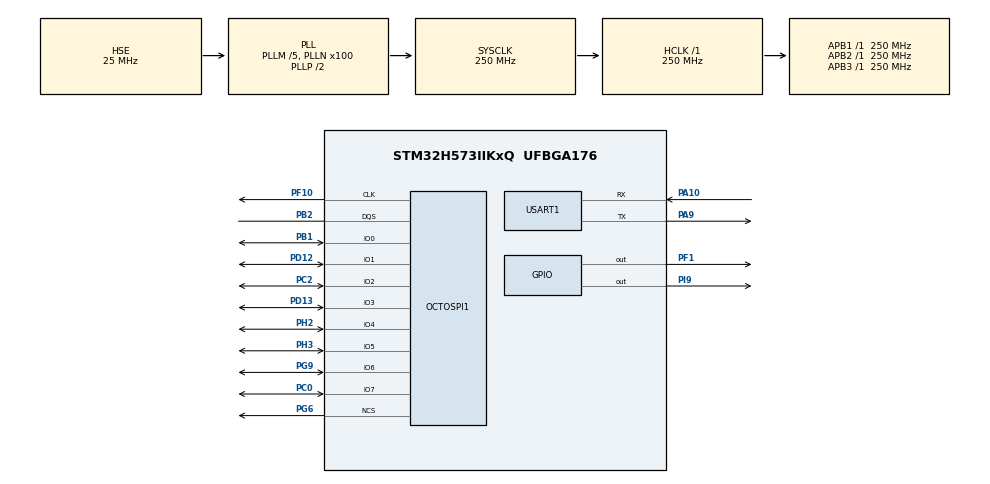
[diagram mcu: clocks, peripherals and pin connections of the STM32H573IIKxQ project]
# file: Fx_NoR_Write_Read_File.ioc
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CORTEX_M33_NS.userName=CORTEX_M33
FILEX.FILEX_APPLICATION_THREAD_STACK_SIZE=2 * 1024
FILEX.FX_APP_MEM_POOL_SIZE=1024*4
FILEX.FX_LX_NOR_INTERFACE=1
FILEX.useRTOS=1
GPDMA1.DESTINC_GPDMACH1=DMA_DINC_INCREMENTED
GPDMA1.DIRECTION_GPDMACH0=DMA_MEMORY_TO_PERIPH
GPDMA1.DMAHANDLE_GPDMACH0=hdmatx
GPDMA1.IPHANDLE_GPDMACH0-SIMPLEREQUEST_GPDMACH0=__NULL
GPDMA1.IPHANDLE_GPDMACH1-SIMPLEREQUEST_GPDMACH1=__NULL
GPDMA1.REQUEST_GPDMACH0=GPDMA1_REQUEST_OCTOSPI1
GPDMA1.REQUEST_GPDMACH1=GPDMA1_REQUEST_OCTOSPI1
GPDMA1.SRCINC_GPDMACH0=DMA_SINC_INCREMENTED
LEVELX.GLUE_FUNCTIONS=DMA_API
LEVELX.LX_DRIVER_CALLS_OSPI_INIT=0
LEVELX.LX_NOR_ENABLE_MAPPING_BITMAP=1
LEVELX.LX_NOR_Flash_Support=1
LEVELX.LX_OctoSPI_Memory_Interface=1
LEVELX.TRANSFER_NOTIFICATION=ThreadX_Semaphore
LevelX.BSP.number=1
LevelX0.BSP.STBoard=false
LevelX0.BSP.api=BSP_COMPONENT_DRIVER
LevelX0.BSP.component=MX25LM51245G
LevelX0.BSP.instance=MX25LM51245G
LevelX0.BSP.name=OSPI Component
LevelX0.BSP.semaphore=SEMA_MX25LM51245G
LevelX0.BSP.solution=MX25LM51245G
Mcu.Family=STM32H5
Mcu.Name=STM32H573IIKxQ
Mcu.Package=UFBGA176
NVIC.GPDMA1_Channel0_IRQn=true\:0\:0\:false\:false\:true\:true\:false\:true\:true
NVIC.GPDMA1_Channel1_IRQn=true\:0\:0\:false\:false\:true\:true\:false\:true\:true
NVIC.OCTOSPI1_IRQn=true\:0\:0\:false\:false\:true\:false\:true\:true\:true
NVIC.PriorityGroup=NVIC_PRIORITYGROUP_4
NVIC.TIM6_IRQn=true\:15\:0\:false\:false\:true\:false\:false\:true\:true
NVIC.TimeBase=TIM6_IRQn
NVIC.TimeBaseIP=TIM6
OCTOSPI1.ChipSelectHighTimeCycle=2
OCTOSPI1.ClockPrescaler=3
OCTOSPI1.DelayBlockBypass=HAL_XSPI_DELAY_BLOCK_ON
OCTOSPI1.DelayHoldQuarterCycle=HAL_XSPI_DHQC_ENABLE
OCTOSPI1.MemorySize=HAL_XSPI_SIZE_512MB
OCTOSPI1.MemoryType=HAL_XSPI_MEMTYPE_MACRONIX
OCTOSPI1.PhaseSel=2
OCTOSPI1.Units=56
PA10.Mode=Asynchronous
PA10.Signal=USART1_RX
PA9.Mode=Asynchronous
PA9.Signal=USART1_TX
PB1.Mode=OCTOSPI1_IO_Octo
PB1.Signal=OCTOSPI1_IO0
PB2.Mode=octods_mode
PB2.Signal=OCTOSPI1_DQS
PC0.Mode=OCTOSPI1_IO_Octo
PC0.Signal=OCTOSPI1_IO7
PC2.Mode=OCTOSPI1_IO_Octo
PC2.Signal=OCTOSPI1_IO2
PD12.Mode=OCTOSPI1_IO_Octo
PD12.Signal=OCTOSPI1_IO1
PD13.Mode=OCTOSPI1_IO_Octo
PD13.Signal=OCTOSPI1_IO3
PF1.GPIO_Speed=GPIO_SPEED_FREQ_HIGH
PF1.PinState=GPIO_PIN_SET
PF1.Signal=GPIO_Output
PF10.Mode=octods_mode
PF10.Signal=OCTOSPI1_CLK
PG6.GPIO_PuPd=GPIO_PULLUP
PG6.Mode=octods_mode
PG6.Signal=OCTOSPI1_NCS
PG9.Mode=OCTOSPI1_IO_Octo
PG9.Signal=OCTOSPI1_IO6
PH0-OSC_IN(PH0).Mode=HSE-DIG-External-Clock-Source
PH0-OSC_IN(PH0).Signal=RCC_OSC_IN
PH2.Mode=OCTOSPI1_IO_Octo
PH2.Signal=OCTOSPI1_IO4
PH3.Mode=OCTOSPI1_IO_Octo
PH3.Signal=OCTOSPI1_IO5
PI9.GPIO_Speed=GPIO_SPEED_FREQ_HIGH
PI9.PinState=GPIO_PIN_SET
PI9.Signal=GPIO_Output
ProjectManager.HeapSize=0x200
ProjectManager.StackSize=0x400
ProjectManager.TargetToolchain=EWARM V9.20
RCC.ADCFreq_Value=250000000
RCC.AHBFreq_Value=250000000
RCC.APB1Freq_Value=250000000
RCC.APB1TimFreq_Value=250000000
RCC.APB2Freq_Value=250000000
RCC.APB2TimFreq_Value=250000000
RCC.APB3Freq_Value=250000000
RCC.CSI_VALUE=4000000
RCC.CortexFreq_Value=250000000
RCC.EPOD_VALUE=25000000
RCC.HCLKFreq_Value=250000000
RCC.HSE_VALUE=25000000
RCC.HSI48_VALUE=48000000
RCC.HSIDiv=RCC_HSI_DIV1
RCC.HSI_VALUE=64000000
RCC.LSE_VALUE=32768
RCC.LSIRC_VALUE=32000
RCC.PLLFRACN=0
RCC.PLLM=5
RCC.PLLN=100
RCC.PLLSourceVirtual=RCC_PLL1_SOURCE_HSE
RCC.SYSCLKFreq_VALUE=250000000
RCC.SYSCLKSource=RCC_SYSCLKSOURCE_PLLCLK
RCC.USBFreq_Value=48000000
RCC.VCOOutputFreq_Value=500000000
USART1.VirtualMode=VM_ASYNC
USART1.VirtualMode-Asynchronous=VM_ASYNC
VP_DCACHE1_VS_DCACHE.Mode=DCACHE_Activate
VP_FILEX_VS_FileOoSystemJjFileXJjCore.Mode=FileX_Core
VP_FILEX_VS_LevelXOoNOROointerface.Mode=LevelX_NOR_interface
VP_GPDMA1_VS_GPDMACH0.Mode=SIMPLEREQUEST_GPDMACH0
VP_GPDMA1_VS_GPDMACH1.Mode=SIMPLEREQUEST_GPDMACH1
VP_ICACHE_VS_ICACHE.Mode=DefaultMode
VP_LEVELX_VS_FileOoSystemJjLevelXJjNOR.Mode=LevelX_NOR_Flash_Support
VP_LEVELX_VS_OctoSPIOomemoryOointerface.Mode=OctoSPI_memory_interface
VP_PWR_VS_DBSignals.Mode=DisableDeadBatterySignals
VP_PWR_VS_LPOM.Mode=PowerOptimisation
VP_PWR_VS_SECSignals.Mode=Security/Privilege
VP_SYS_VS_tim6.Mode=TIM6
VP_THREADX_VS_RTOSJjThreadXJjCoreJjDefault.Mode=Core_Default
board=custom

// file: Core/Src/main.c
/* USER CODE BEGIN Header */
/**
  ******************************************************************************
  * @file           : main.c
  * @brief          : Main program body
  ******************************************************************************
  * @attention
  *
  * Copyright (c) 2023 STMicroelectronics.
  * All rights reserved.
  *
  * This software is licensed under terms that can be found in the LICENSE file
  * in the root directory of this software component.
  * If no LICENSE file comes with this software, it is provided AS-IS.
  *
  ******************************************************************************
  */
/* USER CODE END Header */
#include "app_threadx.h"
#include "main.h"

/* USER CODE BEGIN Includes */
#include "lx_stm32_ospi_driver.h"
#if defined(__ICCARM__)
#include <LowLevelIOInterface.h>
#endif /* __ICCARM__ */
/* USER CODE END Includes */

DCACHE_HandleTypeDef hdcache1;

XSPI_HandleTypeDef hxspi1;
DMA_HandleTypeDef handle_GPDMA1_Channel1;
DMA_HandleTypeDef handle_GPDMA1_Channel0;

UART_HandleTypeDef huart1;

void SystemClock_Config(void);
static void MX_GPIO_Init(void);
static void MX_GPDMA1_Init(void);
static void MX_ICACHE_Init(void);
static void MX_OCTOSPI1_Init(void);
static void MX_USART1_UART_Init(void);
static void MX_DCACHE1_Init(void);
/* USER CODE BEGIN PFP */

#if defined(__ICCARM__)
/* New definition from EWARM V9, compatible with EWARM8 */
int iar_fputc(int ch);
#define PUTCHAR_PROTOTYPE int iar_fputc(int ch)
#elif defined ( __CC_ARM ) || defined(__ARMCC_VERSION)
/* ARM Compiler 5/6*/
#define PUTCHAR_PROTOTYPE int fputc(int ch, FILE *f)
#elif defined(__GNUC__)
#define PUTCHAR_PROTOTYPE int __io_putchar(int ch)
#endif /* __ICCARM__ */
/* USER CODE END PFP */

int main(void)
{

  /* MCU Configuration--------------------------------------------------------*/

  /* Reset of all peripherals, Initializes the Flash interface and the Systick. */
  HAL_Init();

  /* Configure the system clock */
  SystemClock_Config();

  /* Initialize all configured peripherals */
  MX_GPIO_Init();
  MX_GPDMA1_Init();
  MX_ICACHE_Init();
  MX_OCTOSPI1_Init();
  MX_USART1_UART_Init();
  MX_DCACHE1_Init();

  MX_ThreadX_Init();

  /* We should never get here as control is now taken by the scheduler */

  /* Infinite loop */
  while (1)
  {

  }
}

void SystemClock_Config(void)
{
  RCC_OscInitTypeDef RCC_OscInitStruct = {0};
  RCC_ClkInitTypeDef RCC_ClkInitStruct = {0};

  /** Configure the main internal regulator output voltage
  */
  __HAL_PWR_VOLTAGESCALING_CONFIG(PWR_REGULATOR_VOLTAGE_SCALE0);

  while(!__HAL_PWR_GET_FLAG(PWR_FLAG_VOSRDY)) {}

  /** Initializes the RCC Oscillators according to the specified parameters
  * in the RCC_OscInitTypeDef structure.
  */
  RCC_OscInitStruct.OscillatorType = RCC_OSCILLATORTYPE_HSE;
  RCC_OscInitStruct.HSEState = RCC_HSE_BYPASS_DIGITAL;
  RCC_OscInitStruct.PLL.PLLState = RCC_PLL_ON;
  RCC_OscInitStruct.PLL.PLLSource = RCC_PLL1_SOURCE_HSE;
  RCC_OscInitStruct.PLL.PLLM = 5;
  RCC_OscInitStruct.PLL.PLLN = 100;
  RCC_OscInitStruct.PLL.PLLP = 2;
  RCC_OscInitStruct.PLL.PLLQ = 2;
  RCC_OscInitStruct.PLL.PLLR = 2;
  RCC_OscInitStruct.PLL.PLLRGE = RCC_PLL1_VCIRANGE_2;
  RCC_OscInitStruct.PLL.PLLVCOSEL = RCC_PLL1_VCORANGE_WIDE;
  RCC_OscInitStruct.PLL.PLLFRACN = 0;
  if (HAL_RCC_OscConfig(&RCC_OscInitStruct) != HAL_OK)
  {
    Error_Handler();
  }

  /** Initializes the CPU, AHB and APB buses clocks
  */
  RCC_ClkInitStruct.ClockType = RCC_CLOCKTYPE_HCLK|RCC_CLOCKTYPE_SYSCLK
                              |RCC_CLOCKTYPE_PCLK1|RCC_CLOCKTYPE_PCLK2
                              |RCC_CLOCKTYPE_PCLK3;
  RCC_ClkInitStruct.SYSCLKSource = RCC_SYSCLKSOURCE_PLLCLK;
  RCC_ClkInitStruct.AHBCLKDivider = RCC_SYSCLK_DIV1;
  RCC_ClkInitStruct.APB1CLKDivider = RCC_HCLK_DIV1;
  RCC_ClkInitStruct.APB2CLKDivider = RCC_HCLK_DIV1;
  RCC_ClkInitStruct.APB3CLKDivider = RCC_HCLK_DIV1;

  if (HAL_RCC_ClockConfig(&RCC_ClkInitStruct, FLASH_LATENCY_5) != HAL_OK)
  {
    Error_Handler();
  }

  /** Configure the programming delay
  */
  __HAL_FLASH_SET_PROGRAM_DELAY(FLASH_PROGRAMMING_DELAY_2);
}

static void MX_DCACHE1_Init(void)
{

  hdcache1.Instance = DCACHE1;
  hdcache1.Init.ReadBurstType = DCACHE_READ_BURST_WRAP;
  if (HAL_DCACHE_Init(&hdcache1) != HAL_OK)
  {
    Error_Handler();
  }

}

static void MX_GPDMA1_Init(void)
{

  /* Peripheral clock enable */
  __HAL_RCC_GPDMA1_CLK_ENABLE();

  /* GPDMA1 interrupt Init */
    HAL_NVIC_SetPriority(GPDMA1_Channel0_IRQn, 0, 0);
    HAL_NVIC_EnableIRQ(GPDMA1_Channel0_IRQn);
    HAL_NVIC_SetPriority(GPDMA1_Channel1_IRQn, 0, 0);
    HAL_NVIC_EnableIRQ(GPDMA1_Channel1_IRQn);

}

static void MX_ICACHE_Init(void)
{

  /** Enable instruction cache (default 2-ways set associative cache)
  */
  if (HAL_ICACHE_Enable() != HAL_OK)
  {
    Error_Handler();
  }

}

static void MX_OCTOSPI1_Init(void)
{

  HAL_XSPI_DLYB_CfgTypeDef HAL_XSPI_DLYB_Cfg_Struct = {0};

  /* OCTOSPI1 parameter configuration*/
  hxspi1.Instance = OCTOSPI1;
  hxspi1.Init.FifoThresholdByte = 1;
  hxspi1.Init.MemoryMode = HAL_XSPI_SINGLE_MEM;
  hxspi1.Init.MemoryType = HAL_XSPI_MEMTYPE_MACRONIX;
  hxspi1.Init.MemorySize = HAL_XSPI_SIZE_512MB;
  hxspi1.Init.ChipSelectHighTimeCycle = 2;
  hxspi1.Init.FreeRunningClock = HAL_XSPI_FREERUNCLK_DISABLE;
  hxspi1.Init.ClockMode = HAL_XSPI_CLOCK_MODE_0;
  hxspi1.Init.WrapSize = HAL_XSPI_WRAP_NOT_SUPPORTED;
  hxspi1.Init.ClockPrescaler = 3;
  hxspi1.Init.SampleShifting = HAL_XSPI_SAMPLE_SHIFT_NONE;
  hxspi1.Init.DelayHoldQuarterCycle = HAL_XSPI_DHQC_ENABLE;
  hxspi1.Init.ChipSelectBoundary = HAL_XSPI_BONDARYOF_NONE;
  hxspi1.Init.DelayBlockBypass = HAL_XSPI_DELAY_BLOCK_ON;
  hxspi1.Init.Refresh = 0;
  if (HAL_XSPI_Init(&hxspi1) != HAL_OK)
  {
    Error_Handler();
  }
  HAL_XSPI_DLYB_Cfg_Struct.Units = 56;
  HAL_XSPI_DLYB_Cfg_Struct.PhaseSel = 2;
  if (HAL_XSPI_DLYB_SetConfig(&hxspi1, &HAL_XSPI_DLYB_Cfg_Struct) != HAL_OK)
  {
    Error_Handler();
  }

}

static void MX_USART1_UART_Init(void)
{

  huart1.Instance = USART1;
  huart1.Init.BaudRate = 115200;
  huart1.Init.WordLength = UART_WORDLENGTH_8B;
  huart1.Init.StopBits = UART_STOPBITS_1;
  huart1.Init.Parity = UART_PARITY_NONE;
  huart1.Init.Mode = UART_MODE_TX_RX;
  huart1.Init.HwFlowCtl = UART_HWCONTROL_NONE;
  huart1.Init.OverSampling = UART_OVERSAMPLING_16;
  huart1.Init.OneBitSampling = UART_ONE_BIT_SAMPLE_DISABLE;
  huart1.Init.ClockPrescaler = UART_PRESCALER_DIV1;
  huart1.AdvancedInit.AdvFeatureInit = UART_ADVFEATURE_NO_INIT;
  if (HAL_UART_Init(&huart1) != HAL_OK)
  {
    Error_Handler();
  }
  if (HAL_UARTEx_SetTxFifoThreshold(&huart1, UART_TXFIFO_THRESHOLD_1_8) != HAL_OK)
  {
    Error_Handler();
  }
  if (HAL_UARTEx_SetRxFifoThreshold(&huart1, UART_RXFIFO_THRESHOLD_1_8) != HAL_OK)
  {
    Error_Handler();
  }
  if (HAL_UARTEx_DisableFifoMode(&huart1) != HAL_OK)
  {
    Error_Handler();
  }

}

static void MX_GPIO_Init(void)
{
  GPIO_InitTypeDef GPIO_InitStruct = {0};

  /* GPIO Ports Clock Enable */
  __HAL_RCC_GPIOG_CLK_ENABLE();
  __HAL_RCC_GPIOI_CLK_ENABLE();
  __HAL_RCC_GPIOA_CLK_ENABLE();
  __HAL_RCC_GPIOF_CLK_ENABLE();
  __HAL_RCC_GPIOH_CLK_ENABLE();
  __HAL_RCC_GPIOC_CLK_ENABLE();
  __HAL_RCC_GPIOD_CLK_ENABLE();
  __HAL_RCC_GPIOB_CLK_ENABLE();

  /*Configure GPIO pin Output Level */
  HAL_GPIO_WritePin(GPIOI, GPIO_PIN_9, GPIO_PIN_SET);

  /*Configure GPIO pin Output Level */
  HAL_GPIO_WritePin(GPIOF, GPIO_PIN_1, GPIO_PIN_SET);

  /*Configure GPIO pin : PI9 */
  GPIO_InitStruct.Pin = GPIO_PIN_9;
  GPIO_InitStruct.Mode = GPIO_MODE_OUTPUT_PP;
  GPIO_InitStruct.Pull = GPIO_NOPULL;
  GPIO_InitStruct.Speed = GPIO_SPEED_FREQ_HIGH;
  HAL_GPIO_Init(GPIOI, &GPIO_InitStruct);

  /*Configure GPIO pin : PF1 */
  GPIO_InitStruct.Pin = GPIO_PIN_1;
  GPIO_InitStruct.Mode = GPIO_MODE_OUTPUT_PP;
  GPIO_InitStruct.Pull = GPIO_NOPULL;
  GPIO_InitStruct.Speed = GPIO_SPEED_FREQ_HIGH;
  HAL_GPIO_Init(GPIOF, &GPIO_InitStruct);

}

/* USER CODE BEGIN 4 */
/**
  * @brief  Retargets the C library __write function to the IAR function iar_fputc.
  * @param  file: file descriptor.
  * @param  ptr: pointer to the buffer where the data is stored.
  * @param  len: length of the data to write in bytes.
  * @retval length of the written data in bytes.
  */
#if defined(__ICCARM__)
size_t __write(int file, unsigned char const *ptr, size_t len)
{
  size_t idx;
  unsigned char const *pdata = ptr;

  for (idx = 0; idx < len; idx++)
  {
    iar_fputc((int)*pdata);
    pdata++;
  }
  return len;
}
#endif /* __ICCARM__ */

/**
  * @brief  Retargets the C library printf function to the USART.
  */
PUTCHAR_PROTOTYPE
{
  /* Place your implementation of fputc here */
  /* e.g. write a character to the USART1 and Loop until the end of transmission */
  HAL_UART_Transmit(&huart1, (uint8_t *)&ch, 1, 0xFFFF);

  return ch;
}
/* USER CODE END 4 */

void HAL_TIM_PeriodElapsedCallback(TIM_HandleTypeDef *htim)
{
  if (htim->Instance == TIM6)
  {
    HAL_IncTick();
  }
}

void Error_Handler(void)
{
  /* USER CODE BEGIN Error_Handler_Debug */
  /* User can add his own implementation to report the HAL error return state */
  HAL_GPIO_WritePin(GPIOI, GPIO_PIN_9, GPIO_PIN_SET);
  while (1)
  {
   HAL_GPIO_TogglePin(GPIOF, GPIO_PIN_1);
   HAL_Delay(300);
  }
  /* USER CODE END Error_Handler_Debug */
}
